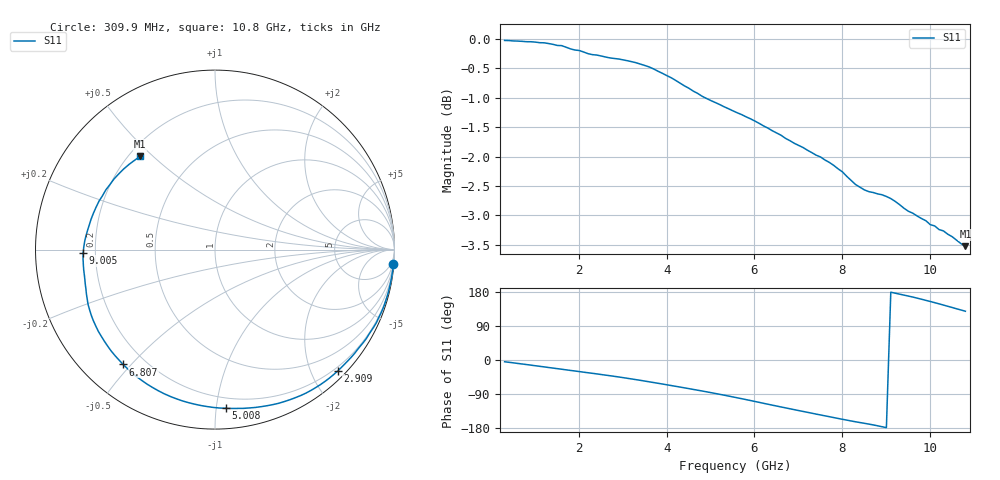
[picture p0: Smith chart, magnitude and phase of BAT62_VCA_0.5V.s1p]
! Infineon Technologies  Discrete & RF Semiconductors
! BAT62
! VCA = 0.5 V
! One-Port S-Parameters
# Hz  S  MA  R  50
!f  S11
!Hz  Mag  Ang
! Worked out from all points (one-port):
!   106 points, 309.9 MHz to 10.8 GHz, reference 50 ohm
!   lowest |S11| = -3.5 dB at 10.8 GHz (marker M1), VSWR 4.99, Z = 12.2 + j22.8 ohm
!   |S11| at or under -10 dB: nowhere
!   S11 on the Smith chart (normalised r, x): 309.9 MHz: 1, -25; 2.909 GHz: 0.13, -2.42; 5.008 GHz: 0.13, -1.06; 6.807 GHz: 0.12, -0.47; 9.005 GHz: 0.15, -0.01; 10.8 GHz: 0.24, +0.46
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3.0985e8  0.9973 -4.6
1.0095e9  0.994 -15.2
1.70915e9  0.9842 -26.0
2.4088e9  0.9692 -36.6
2.90855e9  0.9617 -44.8
3.0085e9  0.96 -46.5
3.4083e9  0.9519 -53.8
3.70815e9  0.9429 -59.6
4.30785e9  0.9172 -71.5
4.70765e9  0.8989 -79.7
5.0075e9  0.8864 -86.1
5.30735e9  0.8758 -92.8
5.6072e9  0.8655 -99.8
6.10695e9  0.8477 -111.8
6.50675e9  0.8318 -121.5
6.8066e9  0.8194 -128.7
6.90655e9  0.8152 -131.0
7.2064e9  0.8042 -138.0
7.6062e9  0.7889 -147.4
8.006e9  0.7707 -156.5
8.2059e9  0.7578 -161.0
8.70565e9  0.7402 -171.3
9.0055e9  0.7345 -178.5
9.50525e9  0.7135 168.7
9.8051e9  0.7034 160.4
1.010495e10  0.6933 151.3
1.050475e10  0.6787 138.5
1.08046e10  0.6663 128.7
